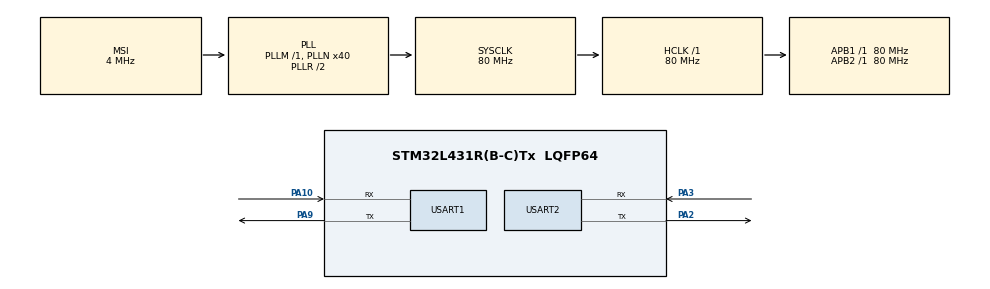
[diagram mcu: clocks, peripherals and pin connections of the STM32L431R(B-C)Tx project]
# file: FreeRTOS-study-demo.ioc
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Dma.Request0=USART2_TX
Dma.USART2_TX.0.Direction=DMA_MEMORY_TO_PERIPH
Dma.USART2_TX.0.Instance=DMA1_Channel7
Dma.USART2_TX.0.MemDataAlignment=DMA_MDATAALIGN_BYTE
Dma.USART2_TX.0.MemInc=DMA_MINC_ENABLE
Dma.USART2_TX.0.Mode=DMA_NORMAL
Dma.USART2_TX.0.PeriphDataAlignment=DMA_PDATAALIGN_BYTE
Dma.USART2_TX.0.PeriphInc=DMA_PINC_DISABLE
Dma.USART2_TX.0.Priority=DMA_PRIORITY_LOW
Mcu.Family=STM32L4
Mcu.Name=STM32L431R(B-C)Tx
Mcu.Package=LQFP64
NVIC.DMA1_Channel7_IRQn=true\:0\:0\:false\:false\:true\:false\:true
NVIC.PriorityGroup=NVIC_PRIORITYGROUP_4
NVIC.USART1_IRQn=true\:3\:0\:true\:false\:true\:true\:true
NVIC.USART2_IRQn=true\:2\:0\:true\:false\:true\:true\:true
PA10.Mode=Asynchronous
PA10.Signal=USART1_RX
PA2.Mode=Asynchronous
PA2.Signal=USART2_TX
PA3.Mode=Asynchronous
PA3.Signal=USART2_RX
PA9.Mode=Asynchronous
PA9.Signal=USART1_TX
PH0-OSC_IN\ (PH0).Mode=HSE-External-Oscillator
PH0-OSC_IN\ (PH0).Signal=RCC_OSC_IN
PH1-OSC_OUT\ (PH1).Mode=HSE-External-Oscillator
PH1-OSC_OUT\ (PH1).Signal=RCC_OSC_OUT
ProjectManager.HeapSize=0x200
ProjectManager.StackSize=0x400
ProjectManager.TargetToolchain=MDK-ARM V5
RCC.AHBFreq_Value=80000000
RCC.APB1Freq_Value=80000000
RCC.APB1TimFreq_Value=80000000
RCC.APB2Freq_Value=80000000
RCC.APB2TimFreq_Value=80000000
RCC.CortexFreq_Value=80000000
RCC.HCLKFreq_Value=80000000
RCC.HSE_VALUE=8000000
RCC.HSI48_VALUE=48000000
RCC.HSI_VALUE=16000000
RCC.LSE_VALUE=32768
RCC.MSI_VALUE=4000000
RCC.PLLN=40
RCC.SYSCLKFreq_VALUE=80000000
RCC.SYSCLKSource=RCC_SYSCLKSOURCE_PLLCLK
RCC.VCOOutputFreq_Value=160000000
USART1.VirtualMode-Asynchronous=VM_ASYNC
USART2.VirtualMode-Asynchronous=VM_ASYNC
board=custom

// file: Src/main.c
/* USER CODE BEGIN Header */
/**
  ******************************************************************************
  * @file           : main.c
  * @brief          : Main program body
  ******************************************************************************
  * @attention
  *
  * <h2><center>&copy; Copyright (c) 2021 STMicroelectronics.
  * All rights reserved.</center></h2>
  *
  * This software component is licensed by ST under BSD 3-Clause license,
  * the "License"; You may not use this file except in compliance with the
  * License. You may obtain a copy of the License at:
  *                        opensource.org/licenses/BSD-3-Clause
  *
  ******************************************************************************
  */
/* USER CODE END Header */

#include "main.h"
#include "dma.h"
#include "usart.h"
#include "gpio.h"

/* USER CODE BEGIN Includes */
#include "FreeRTOS.h"
#include "task.h"
#include <stdio.h>
/* USER CODE END Includes */

void SystemClock_Config(void);

/* USER CODE BEGIN 0 */

#define TASK1_STACK_SIZE    512
#define TASK2_STACK_SIZE    512

StaticTask_t task1_tcb_buffer;
StaticTask_t task2_tcb_buffer;

StackType_t task1_stack[TASK1_STACK_SIZE];
StackType_t task2_stack[TASK2_STACK_SIZE];

void task1_entry(void *args)
{
  /* Enter into a forever loop. */
  while(1)
  {
    printf("task 1 application running...\r\n");

    vTaskDelay(1000);
  }
}

void task2_entry(void *args)
{
  /* Enter into a forever loop. */
  while(1)
  {
    printf("task 2 application running...\r\n");

    vTaskDelay(1000);
  }
}

/* GetIdleTaskMemory prototype (linked to static allocation support) */
static StaticTask_t xIdleTaskTCBBuffer;
static StackType_t xIdleStack[configMINIMAL_STACK_SIZE];

void vApplicationGetIdleTaskMemory( StaticTask_t **ppxIdleTaskTCBBuffer, StackType_t **ppxIdleTaskStackBuffer, uint32_t *pulIdleTaskStackSize )
{
  *ppxIdleTaskTCBBuffer = &xIdleTaskTCBBuffer;
  *ppxIdleTaskStackBuffer = &xIdleStack[0];
  *pulIdleTaskStackSize = configMINIMAL_STACK_SIZE;
}

/* USER CODE END 0 */

int main(void)
{
  /* USER CODE BEGIN 1 */
    TaskHandle_t task1_handle = NULL;
    TaskHandle_t task2_handle = NULL;
  /* USER CODE END 1 */

  /* MCU Configuration--------------------------------------------------------*/

  /* Reset of all peripherals, Initializes the Flash interface and the Systick. */
  HAL_Init();

  /* Configure the system clock */
  SystemClock_Config();

  /* Initialize all configured peripherals */
  MX_GPIO_Init();
  MX_USART1_UART_Init();
  MX_DMA_Init();
  MX_USART2_UART_Init();
  /* USER CODE BEGIN 2 */
  printf("FreeRTOS port on BearPi board by mculover666\r\n");

  task1_handle = xTaskCreateStatic(task1_entry,"task1", TASK1_STACK_SIZE, NULL, 1, task1_stack, &task1_tcb_buffer);

  task2_handle = xTaskCreateStatic(task2_entry,"task2", TASK2_STACK_SIZE, NULL, 2, task2_stack, &task2_tcb_buffer);

  vTaskStartScheduler();
  /* USER CODE END 2 */

  /* Infinite loop */
  while (1)
  {

  }
}

void SystemClock_Config(void)
{
  RCC_OscInitTypeDef RCC_OscInitStruct = {0};
  RCC_ClkInitTypeDef RCC_ClkInitStruct = {0};
  RCC_PeriphCLKInitTypeDef PeriphClkInit = {0};

  /** Initializes the CPU, AHB and APB busses clocks
  */
  RCC_OscInitStruct.OscillatorType = RCC_OSCILLATORTYPE_MSI;
  RCC_OscInitStruct.MSIState = RCC_MSI_ON;
  RCC_OscInitStruct.MSICalibrationValue = 0;
  RCC_OscInitStruct.MSIClockRange = RCC_MSIRANGE_6;
  RCC_OscInitStruct.PLL.PLLState = RCC_PLL_ON;
  RCC_OscInitStruct.PLL.PLLSource = RCC_PLLSOURCE_MSI;
  RCC_OscInitStruct.PLL.PLLM = 1;
  RCC_OscInitStruct.PLL.PLLN = 40;
  RCC_OscInitStruct.PLL.PLLP = RCC_PLLP_DIV7;
  RCC_OscInitStruct.PLL.PLLQ = RCC_PLLQ_DIV2;
  RCC_OscInitStruct.PLL.PLLR = RCC_PLLR_DIV2;
  if (HAL_RCC_OscConfig(&RCC_OscInitStruct) != HAL_OK)
  {
    Error_Handler();
  }
  /** Initializes the CPU, AHB and APB busses clocks
  */
  RCC_ClkInitStruct.ClockType = RCC_CLOCKTYPE_HCLK|RCC_CLOCKTYPE_SYSCLK
                              |RCC_CLOCKTYPE_PCLK1|RCC_CLOCKTYPE_PCLK2;
  RCC_ClkInitStruct.SYSCLKSource = RCC_SYSCLKSOURCE_PLLCLK;
  RCC_ClkInitStruct.AHBCLKDivider = RCC_SYSCLK_DIV1;
  RCC_ClkInitStruct.APB1CLKDivider = RCC_HCLK_DIV1;
  RCC_ClkInitStruct.APB2CLKDivider = RCC_HCLK_DIV1;

  if (HAL_RCC_ClockConfig(&RCC_ClkInitStruct, FLASH_LATENCY_4) != HAL_OK)
  {
    Error_Handler();
  }
  PeriphClkInit.PeriphClockSelection = RCC_PERIPHCLK_USART1|RCC_PERIPHCLK_USART2;
  PeriphClkInit.Usart1ClockSelection = RCC_USART1CLKSOURCE_PCLK2;
  PeriphClkInit.Usart2ClockSelection = RCC_USART2CLKSOURCE_PCLK1;
  if (HAL_RCCEx_PeriphCLKConfig(&PeriphClkInit) != HAL_OK)
  {
    Error_Handler();
  }
  /** Configure the main internal regulator output voltage
  */
  if (HAL_PWREx_ControlVoltageScaling(PWR_REGULATOR_VOLTAGE_SCALE1) != HAL_OK)
  {
    Error_Handler();
  }
}

void Error_Handler(void)
{
}

/************************ (C) COPYRIGHT STMicroelectronics *****END OF FILE****/
